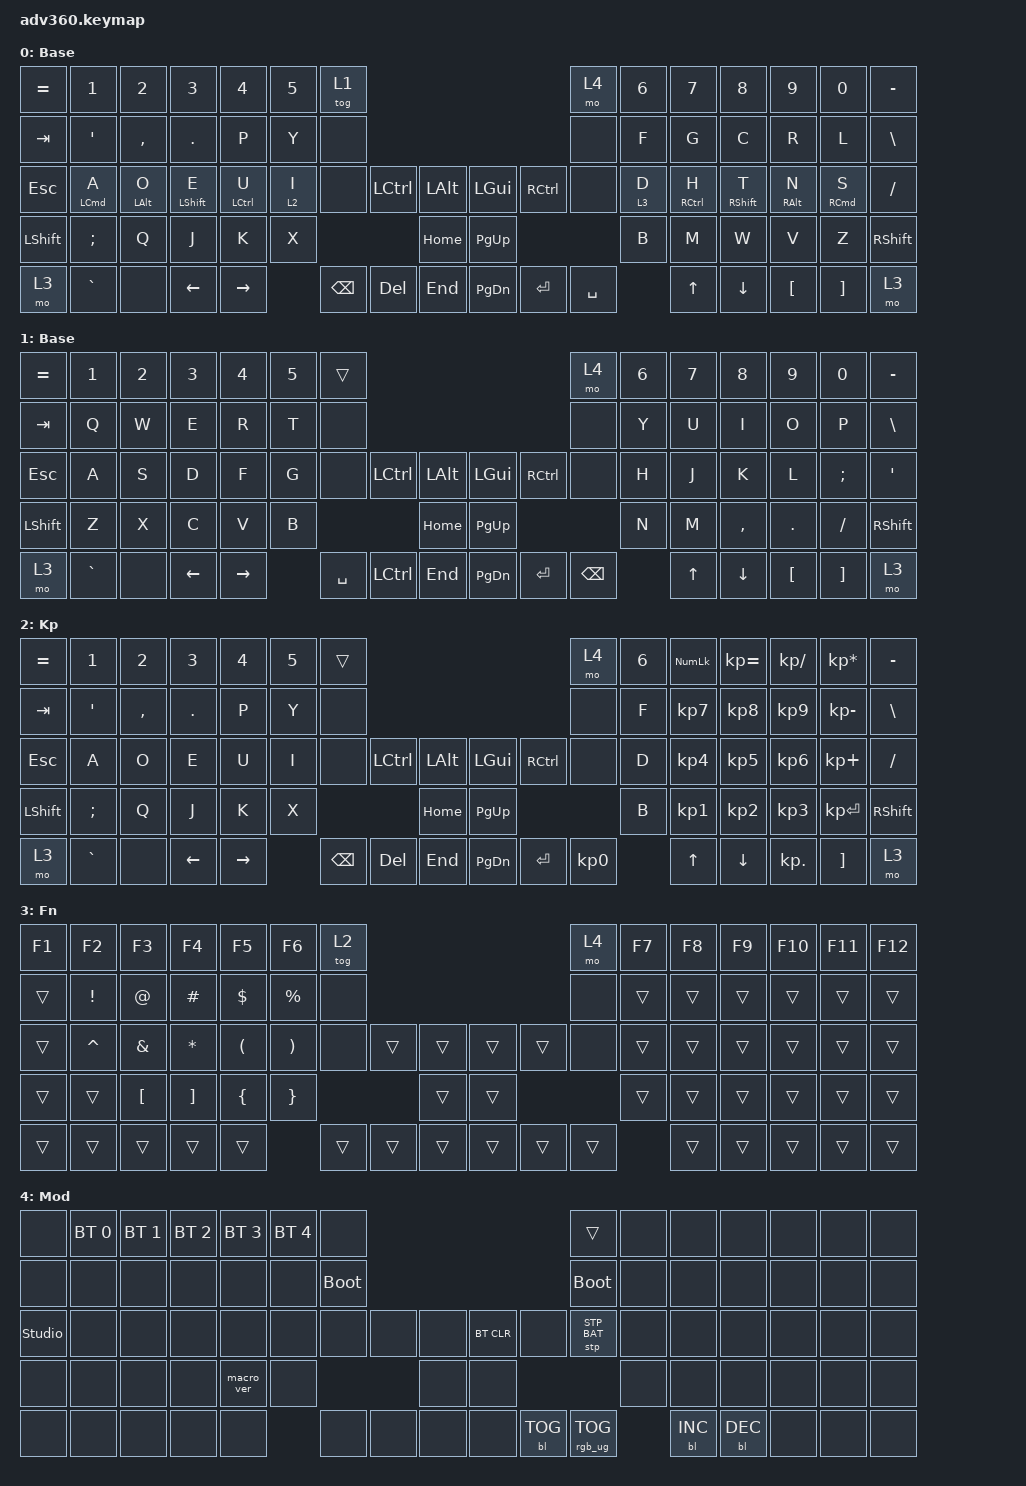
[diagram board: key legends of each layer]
#include <dt-bindings/zmk/stp.h>
#include <behaviors.dtsi>
#include <dt-bindings/zmk/backlight.h>
#include <dt-bindings/zmk/bt.h>
#include <dt-bindings/zmk/keys.h>
#include <dt-bindings/zmk/rgb.h>

/ {
    behaviors {
        #include "macros.dtsi"
      #include "version.dtsi"

        hm: homerow_mods {
            compatible = "zmk,behavior-hold-tap";
            label = "HOMEROW_MODS";
            #binding-cells = <2>;
            tapping-term-ms = <140>;
            flavor = "tap-preferred";
            bindings = <&kp>, <&kp>;
        };
    };

    keymap {
        compatible = "zmk,keymap";

        DVORAK {
            display-name = "Base";
            bindings = <
&kp EQUAL  &kp N1              &kp N2          &kp N3            &kp N4              &kp N5   &tog 1                                                   &mo 4      &kp N6   &kp N7               &kp N8             &kp N9           &kp N0               &kp MINUS
&kp TAB    &kp APOS            &kp COMMA       &kp DOT           &kp P               &kp Y    &none                                                    &none      &kp F    &kp G                &kp C              &kp R            &kp L                &kp BSLH
&kp ESC    &hm LEFT_COMMAND A  &hm LEFT_ALT O  &hm LEFT_SHIFT E  &hm LEFT_CONTROL U  &lt 2 I  &none     &kp LCTRL  &kp LALT      &kp LGUI   &kp RCTRL  &none      &lt 3 D  &hm RIGHT_CONTROL H  &hm RIGHT_SHIFT T  &hm RIGHT_ALT N  &hm RIGHT_COMMAND S  &kp FSLH
&kp LSHFT  &kp SEMI            &kp Q           &kp J             &kp K               &kp X                         &kp HOME      &kp PG_UP                        &kp B    &kp M                &kp W              &kp V            &kp Z                &kp RSHFT
&mo 3      &kp GRAVE           &none           &kp LEFT          &kp RIGHT                    &kp BSPC  &kp DEL    &kp END       &kp PG_DN  &kp ENTER  &kp SPACE           &kp UP               &kp DOWN           &kp LBKT         &kp RBKT             &mo 3
            >;
        };

        QWERTY {
            display-name = "Base";
            bindings = <
&kp EQUAL  &kp N1     &kp N2  &kp N3    &kp N4     &kp N5  &trans                                                    &mo 4          &kp N6  &kp N7  &kp N8     &kp N9    &kp N0    &kp MINUS
&kp TAB    &kp Q      &kp W   &kp E     &kp R      &kp T   &none                                                     &none          &kp Y   &kp U   &kp I      &kp O     &kp P     &kp BSLH
&kp ESC    &kp A      &kp S   &kp D     &kp F      &kp G   &none      &kp LCTRL  &kp LALT      &kp LGUI   &kp RCTRL  &none          &kp H   &kp J   &kp K      &kp L     &kp SEMI  &kp SQT
&kp LSHFT  &kp Z      &kp X   &kp C     &kp V      &kp B                         &kp HOME      &kp PG_UP                            &kp N   &kp M   &kp COMMA  &kp DOT   &kp FSLH  &kp RSHFT
&mo 3      &kp GRAVE  &none   &kp LEFT  &kp RIGHT          &kp SPACE  &kp LCTRL  &kp END       &kp PG_DN  &kp ENTER  &kp BACKSPACE          &kp UP  &kp DOWN   &kp LBKT  &kp RBKT  &mo 3
            >;
        };

        dvorak-keypad {
            display-name = "Kp";
            bindings = <
&kp EQUAL  &kp N1     &kp N2     &kp N3    &kp N4     &kp N5  &trans                                                   &mo 4      &kp N6  &kp KP_NUM  &kp KP_EQUAL  &kp KP_DIVIDE  &kp KP_MULTIPLY  &kp MINUS
&kp TAB    &kp APOS   &kp COMMA  &kp DOT   &kp P      &kp Y   &none                                                    &none      &kp F   &kp KP_N7   &kp KP_N8     &kp KP_N9      &kp KP_MINUS     &kp BSLH
&kp ESC    &kp A      &kp O      &kp E     &kp U      &kp I   &none     &kp LCTRL  &kp LALT      &kp LGUI   &kp RCTRL  &none      &kp D   &kp KP_N4   &kp KP_N5     &kp KP_N6      &kp KP_PLUS      &kp FSLH
&kp LSHFT  &kp SEMI   &kp Q      &kp J     &kp K      &kp X                        &kp HOME      &kp PG_UP                        &kp B   &kp KP_N1   &kp KP_N2     &kp KP_N3      &kp KP_ENTER     &kp RSHFT
&mo 3      &kp GRAVE  &none      &kp LEFT  &kp RIGHT          &kp BSPC  &kp DEL    &kp END       &kp PG_DN  &kp ENTER  &kp KP_N0          &kp UP      &kp DOWN      &kp KP_DOT     &kp RBKT         &mo 3
            >;
        };

        fn {
            display-name = "Fn";
            bindings = <
&kp F1  &kp F2           &kp F3            &kp F4             &kp F5                &kp F6                 &tog 2                                      &mo 4   &kp F7  &kp F8  &kp F9  &kp F10  &kp F11  &kp F12
&trans  &kp EXCLAMATION  &kp AT_SIGN       &kp HASH           &kp DOLLAR            &kp PERCENT            &none                                       &none   &trans  &trans  &trans  &trans   &trans   &trans
&trans  &kp CARET        &kp AMPERSAND     &kp ASTERISK       &kp LEFT_PARENTHESIS  &kp RIGHT_PARENTHESIS  &none   &trans  &trans      &trans  &trans  &none   &trans  &trans  &trans  &trans   &trans   &trans
&trans  &trans           &kp LEFT_BRACKET  &kp RIGHT_BRACKET  &kp LEFT_BRACE        &kp RIGHT_BRACE                        &trans      &trans                  &trans  &trans  &trans  &trans   &trans   &trans
&trans  &trans           &trans            &trans             &trans                                       &trans  &trans  &trans      &trans  &trans  &trans          &trans  &trans  &trans   &trans   &trans
            >;
        };

        mod {
            display-name = "Mod";
            bindings = <
&none           &bt BT_SEL 0  &bt BT_SEL 1  &bt BT_SEL 2  &bt BT_SEL 3  &bt BT_SEL 4  &none                                                  &trans           &none  &none       &none       &none  &none  &none
&none           &none         &none         &none         &none         &none         &bootloader                                            &bootloader      &none  &none       &none       &none  &none  &none
&studio_unlock  &none         &none         &none         &none         &none         &none        &none  &none      &bt BT_CLR  &none       &stp STP_BAT     &none  &none       &none       &none  &none  &none
&none           &none         &none         &none         &macro_ver    &none                             &none      &none                                    &none  &none       &none       &none  &none  &none
&none           &none         &none         &none         &none                       &none        &none  &none      &none       &bl BL_TOG  &rgb_ug RGB_TOG         &bl BL_INC  &bl BL_DEC  &none  &none  &none
            >;
        };

        extra1 {
            display-name = "Red";
            status = "reserved";
        };

        extra2 {
            display-name = "Purple";
            status = "reserved";
        };

        extra3 {
            display-name = "Cyan";
            status = "reserved";
        };

        extra4 {
            display-name = "Yellow";
            status = "reserved";
        };
    };
};
